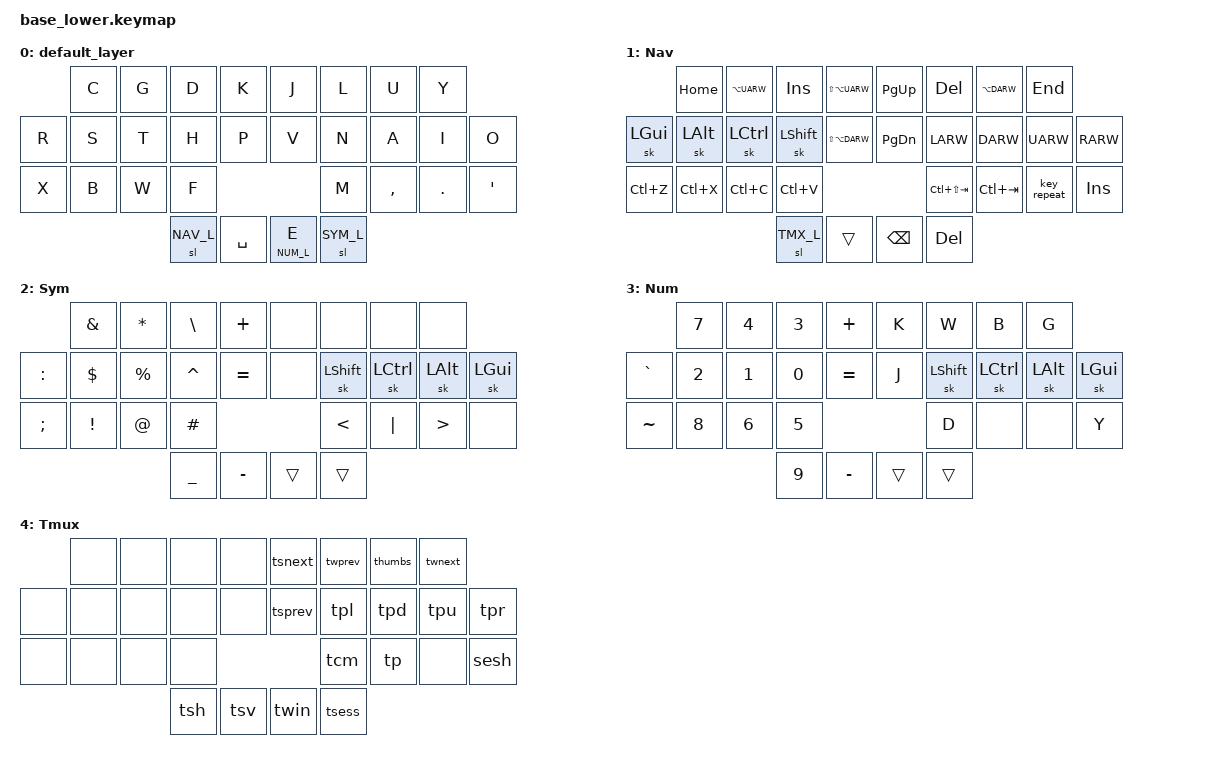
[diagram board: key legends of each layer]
/*
 * Copyright (c) 2020 The ZMK Contributors
 * SPDX-License-Identifier: MIT
 */

#include <behaviors.dtsi>
#include <dt-bindings/zmk/keys.h>
#include <dt-bindings/zmk/bt.h>

#include <dt-bindings/zmk/outputs.h>

/* Layers */
#define DEF_L 0
#define NAV_L 1
#define SYM_L 2
#define NUM_L 3
#define TMX_L 4

/* Behavior Settings */
&caps_word {
  continue-list = <UNDERSCORE MINUS BACKSPACE>;
};

&sk {
  release-after-ms = <60000>;
};


/ {


    ZMK_MACRO(sesh,
        wait-ms = <30>;
        tap-ms = <40>;
        bindings = <&kp LC(B) &kp LS(T)>;)

    ZMK_MACRO(tas,
        wait-ms = <30>;
        tap-ms = <40>;
        bindings = <&kp LC(B) &kp LC(J)>;)

    ZMK_MACRO(tproj,
        wait-ms = <30>;
        tap-ms = <40>;
        bindings = <&kp LC(B) &kp LC(G)>;)

    ZMK_MACRO(tpb,
        wait-ms = <30>;
        tap-ms = <40>;
        bindings = <&kp LC(B) &kp EQUAL>;)

    ZMK_MACRO(tp,
        wait-ms = <30>;
        tap-ms = <40>;
        bindings = <&kp LC(B) &kp RBKT>;)

    ZMK_MACRO(tcm,
        wait-ms = <30>;
        tap-ms = <40>;
        bindings = <&kp LC(B) &kp LBKT>;)

    ZMK_MACRO(trw,
        wait-ms = <30>;
        tap-ms = <40>;
        bindings = <&kp LC(B) &kp COMMA>;)

    ZMK_MACRO(trs,
        wait-ms = <30>;
        tap-ms = <40>;
        bindings = <&kp LC(B) &kp DLLR>;)

    ZMK_MACRO(tfs,
        wait-ms = <30>;
        tap-ms = <40>;
        bindings = <&kp LC(B) &kp LC(J)>;)

    ZMK_MACRO(tfp,
        wait-ms = <30>;
        tap-ms = <40>;
        bindings = <&kp LC(B) &kp LC(G)>;)

    ZMK_MACRO(tpr,
        wait-ms = <30>;
        tap-ms = <40>;
        bindings = <&kp LC(B) &kp H>;)

    ZMK_MACRO(tpl,
        wait-ms = <30>;
        tap-ms = <40>;
        bindings = <&kp LC(B) &kp L>;)

    ZMK_MACRO(tpd,
        wait-ms = <30>;
        tap-ms = <40>;
        bindings = <&kp LC(B) &kp J>;)

    ZMK_MACRO(tpu,
        wait-ms = <30>;
        tap-ms = <40>;
        bindings = <&kp LC(B) &kp K>;)

    ZMK_MACRO(tsh,
        wait-ms = <30>;
        tap-ms = <40>;
        bindings = <&kp LC(B) &kp DQT>;)

    ZMK_MACRO(tsv,
        wait-ms = <30>;
        tap-ms = <40>;
        bindings = <&kp LC(B) &kp PRCNT>;)

    ZMK_MACRO(tsess,
        wait-ms = <30>;
        tap-ms = <40>;
        bindings = <&kp LC(B) &kp LC(C)>;)

    ZMK_MACRO(twin,
        wait-ms = <30>;
        tap-ms = <40>;
        bindings = <&kp LC(B) &kp C>;)

    ZMK_MACRO(twprev,
        wait-ms = <30>;
        tap-ms = <40>;
        bindings = <&kp LC(B) &kp P>;)

    ZMK_MACRO(twnext,
        wait-ms = <30>;
        tap-ms = <40>;
        bindings = <&kp LC(B) &kp N>;)

    ZMK_MACRO(tsprev,
        wait-ms = <30>;
        tap-ms = <40>;
        bindings = <&kp LC(B) &kp LPAR>;)

    ZMK_MACRO(tsnext,
        wait-ms = <30>;
        tap-ms = <40>;
        bindings = <&kp LC(B) &kp RPAR>;)

    ZMK_MACRO(thumbs,
        wait-ms = <30>;
        tap-ms = <40>;
        bindings = <&kp LC(B) &kp SPACE>;)


    combos {
        compatible = "zmk,combos";

        #define COMBO(NAME, BINDINGS, KEYPOS, LAYERS) \
          combo_##NAME { \
            bindings = <BINDINGS>; \
            key-positions = <KEYPOS>; \
            layers = <LAYERS>; \
          };

        /*                KEY POSITIONS

          ╭────────────────────╮ ╭────────────────────╮
          │     0   1   2   3  │ │  4   5   6   7     │
          │ 8   9   10  11  12 │ │ 13  14  15  16  17 │
          │ 18  19  20  21     │ │     22  23  24  25 │
          ╰───────────╮ 26  27 │ │ 28  29 ╭───────────╯
                      ╰────────╯ ╰────────╯            */

         /* Letters */
        COMBO(q, &kp Q, 1 2, DEF_L)
        COMBO(z, &kp Z, 20 21, DEF_L)
        COMBO(forward_slash, &kp FSLH, 19 20, DEF_L)

        /* Brackets */
        COMBO(left_bracket, &kp LBKT, 0 9, DEF_L SYM_L NUM_L)
        COMBO(right_bracket, &kp RBKT, 7 16, DEF_L SYM_L NUM_L)
        COMBO(left_parenthesis, &kp LPAR, 1 10, DEF_L SYM_L NUM_L)
        COMBO(right_parenthesis, &kp RPAR, 6 15, DEF_L SYM_L NUM_L)
        COMBO(left_brace, &kp LBRC, 2 11, DEF_L SYM_L NUM_L)
        COMBO(right_brace, &kp RBRC, 5 14, DEF_L SYM_L NUM_L)
        COMBO(less_than, &kp LT, 3 12, DEF_L SYM_L NUM_L)
        COMBO(grather_than, &kp GT, 4 13, DEF_L SYM_L NUM_L)

        /* Convenience */
        COMBO(lshift, &sk LSHFT, 9 10, DEF_L)
        COMBO(rshift, &sk RSHFT, 15 16, DEF_L)
        COMBO(quote, &kp DQT, 6 7, DEF_L)
        COMBO(del_word, &kp LC(BSPC), 22 24, DEF_L)
        COMBO(caps_lock, &kp CAPS, 0 7, DEF_L)
        COMBO(caps_word, &caps_word, 1 6, DEF_L)
        COMBO(esc, &kp ESC, 9 11, DEF_L)
        COMBO(ent, &kp ENTER, 14 16, DEF_L)
        COMBO(stab, &kp LS(TAB), 10 11, DEF_L)
        COMBO(tab, &kp TAB, 14 15, DEF_L)
        COMBO(dot, &kp DOT, 9 10, NUM_L)

        COMBO(select_all, &kp LC(A), 19 20, NAV_L)
        COMBO(bt_clear_all, &bt BT_CLR_ALL, 0 1 6 7, DEF_L)


    };


    keymap {
        compatible = "zmk,keymap";

        default_layer {
            bindings = <
        // ╭─────────────┬─────────────┬─────────────┬─────────────┬─────────────╮   ╭─────────────┬─────────────┬─────────────┬─────────────┬─────────────╮
                           &kp C         &kp G         &kp D         &kp K             &kp J         &kp L         &kp U         &kp Y
             &kp R         &kp S         &kp T         &kp H         &kp P             &kp V         &kp N         &kp A         &kp I         &kp O
             &kp X         &kp B         &kp W         &kp F                                         &kp M         &kp COMMA     &kp DOT       &kp SQT
        // ╰─────────────┴─────────────┴─────────────╮                                                           ╭─────────────┴─────────────┴─────────────╯
                                                       &sl NAV_L     &kp SPACE         &lt NUM_L E   &sl SYM_L
        //                                           ╰─────────────┴─────────────╯   ╰─────────────┴─────────────╯

            >;
        };

        nav_layer {
            label = "Nav";
            bindings = <
        // ╭─────────────┬─────────────┬─────────────┬─────────────┬─────────────╮   ╭─────────────┬─────────────┬─────────────┬─────────────┬─────────────╮
                           &kp HOME      &kp LA(UARW)  &kp INS       &kp LS(LA(UARW))  &kp PG_UP     &kp DEL         &kp LA(DARW)  &kp END
             &sk LGUI      &sk LALT      &sk LCTRL     &sk LSHFT     &kp LS(LA(DARW))  &kp PG_DN     &kp LARW        &kp DARW      &kp UARW      &kp RARW
             &kp LC(Z)     &kp LC(X)     &kp LC(C)     &kp LC(V)                                     &kp LC(LS(TAB)) &kp LC(TAB)   &key_repeat   &kp INS
        // ╰─────────────┴─────────────┴─────────────╮                                                           ╭─────────────┴─────────────┴─────────────╯
                                                       &sl TMX_L     &trans            &kp BSPC      &kp DEL
        //                                           ╰─────────────┴─────────────╯   ╰─────────────┴─────────────╯
            >;
        };

        sym_layer {
            label = "Sym";
            bindings = <
        // ╭─────────────┬─────────────┬─────────────┬─────────────┬─────────────╮   ╭─────────────┬─────────────┬─────────────┬─────────────┬─────────────╮
                           &kp AMPS      &kp ASTRK     &kp BSLH      &kp PLUS          &none         &none         &none         &none
             &kp COLON     &kp DLLR      &kp PRCNT     &kp CARET     &kp EQUAL         &none         &sk LSHFT     &sk LCTRL     &sk LALT      &sk LGUI
             &kp SEMI      &kp EXCL      &kp AT        &kp POUND                                     &kp LT        &kp PIPE      &kp GT        &none
        // ╰─────────────┴─────────────┴─────────────╮                                                           ╭─────────────┴─────────────┴─────────────╯
                                                       &kp UNDER     &kp MINUS         &trans        &trans
        //                                           ╰─────────────┴─────────────╯   ╰─────────────┴─────────────╯
            >;
        };

        num_layer {
            label = "Num";
            bindings = <
        // ╭─────────────┬─────────────┬─────────────┬─────────────┬─────────────╮   ╭─────────────┬─────────────┬─────────────┬─────────────┬─────────────╮
                           &kp N7        &kp N4        &kp N3        &kp PLUS             &kp K         &kp W         &kp B         &kp G
             &kp GRAVE     &kp N2        &kp N1        &kp N0        &kp EQUAL            &kp J         &sk LSHFT     &sk LCTRL     &sk LALT      &sk LGUI
             &kp TILDE     &kp N8        &kp N6        &kp N5                                           &kp D         &none         &none         &kp Y
        // ╰─────────────┴─────────────┴─────────────╮                                                           ╭─────────────┴─────────────┴─────────────╯
                                                       &kp N9        &kp MINUS         &trans        &trans
        //                                           ╰─────────────┴─────────────╯   ╰─────────────┴─────────────
            >;
        };


        tmux_layer {
            label = "Tmux";
            bindings = <
        // ╭─────────────┬─────────────┬─────────────┬─────────────┬─────────────╮   ╭─────────────┬─────────────┬─────────────┬─────────────┬─────────────╮
                           &none         &none         &none        &none                &tsnext       &twprev       &thumbs       &twnext
             &none         &none         &none         &none        &none                &tsprev       &tpl          &tpd          &tpu          &tpr
             &none         &none         &none         &none                                           &tcm          &tp           &none         &sesh
        // ╰─────────────┴─────────────┴─────────────╮                                                           ╭─────────────┴─────────────┴─────────────╯
                                                          &tsh          &tsv              &twin         &tsess
        //                                           ╰─────────────┴─────────────╯   ╰─────────────┴─────────────
            >;
        };

    };
};
